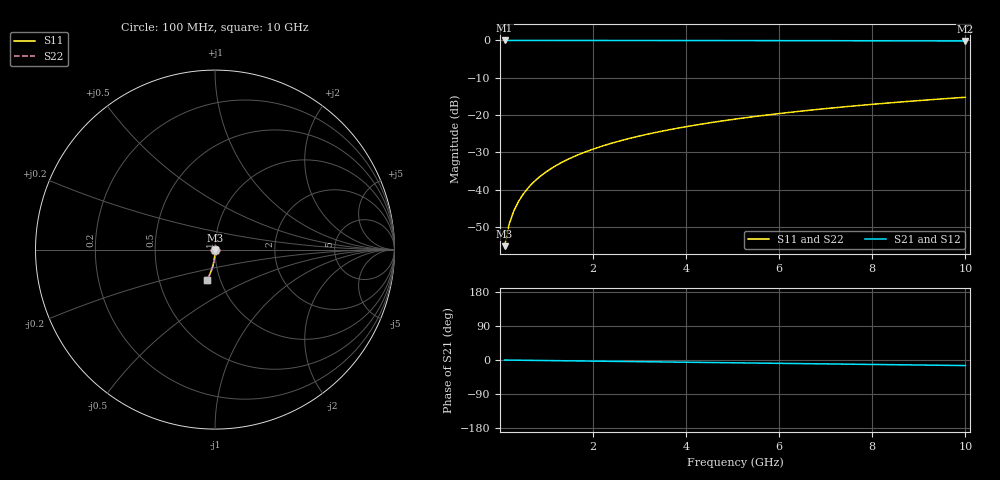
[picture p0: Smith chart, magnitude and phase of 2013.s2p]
# Hz S RI R 50.00
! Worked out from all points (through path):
!   100 points, 100 MHz to 10 GHz, reference 50 ohm
!   highest |S21| = 0.00 dB at 100 MHz (marker M1); lowest = -0.1 dB at 10 GHz (marker M2)
!   group delay of S21, straight-line fit = 4.08 ps
!   lowest |S11| = -55.1 dB at 100 MHz (marker M3), VSWR 1.00, Z = 50 - j0.175 ohm
!   |S11| at or under -10 dB: start of sweep to end of sweep
!   |S22| runs from -55.1 to -15.2 dB; largest |S21 - S12| = 0
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1e8  0.000148 -0.00175  0.9998 -0.00255  0.9998 -0.00255  0.000148 -0.00175
2e8  0.000134 -0.0035  0.9998 -0.00511  0.9998 -0.00511  0.000134 -0.0035
3e8  0.00011 -0.00525  0.9998 -0.00766  0.9998 -0.00766  0.00011 -0.00525
4e8  7.74e-05 -0.007  0.9998 -0.0102  0.9998 -0.0102  7.74e-05 -0.007
5e8  3.56e-05 -0.00874  0.9997 -0.0128  0.9997 -0.0128  3.56e-05 -0.00874
6e8  -1.51e-05 -0.0105  0.9997 -0.0153  0.9997 -0.0153  -1.51e-05 -0.0105
7e8  -7.48e-05 -0.0122  0.9996 -0.0179  0.9996 -0.0179  -7.48e-05 -0.0122
8e8  -0.000144 -0.014  0.9995 -0.0204  0.9995 -0.0204  -0.000144 -0.014
9e8  -0.000221 -0.0157  0.9994 -0.023  0.9994 -0.023  -0.000221 -0.0157
1.1e9  -0.000403 -0.0192  0.9992 -0.0281  0.9992 -0.0281  -0.000403 -0.0192
1.4e9  -0.000744 -0.0245  0.9989 -0.0357  0.9989 -0.0357  -0.000744 -0.0245
1.8e9  -0.00132 -0.0315  0.9982 -0.046  0.9982 -0.046  -0.00132 -0.0315
2.1e9  -0.00185 -0.0367  0.9977 -0.0536  0.9977 -0.0536  -0.00185 -0.0367
2.5e9  -0.00268 -0.0437  0.9968 -0.0638  0.9968 -0.0638  -0.00268 -0.0437
2.9e9  -0.00366 -0.0506  0.9957 -0.074  0.9957 -0.074  -0.00366 -0.0506
3.4e9  -0.00507 -0.0593  0.9942 -0.0867  0.9942 -0.0867  -0.00507 -0.0593
4.2e9  -0.0078 -0.0731  0.9913 -0.107  0.9913 -0.107  -0.0078 -0.0731
5.1e9  -0.0116 -0.0884  0.9873 -0.1297  0.9873 -0.1297  -0.0116 -0.0884
5.9e9  -0.0155 -0.102  0.983 -0.1497  0.983 -0.1497  -0.0155 -0.102
6.7e9  -0.0199 -0.1153  0.9782 -0.1696  0.9782 -0.1696  -0.0199 -0.1153
8.4e9  -0.0312 -0.1429  0.9661 -0.2111  0.9661 -0.2111  -0.0312 -0.1429
1e10  -0.0439 -0.1677  0.9524 -0.2492  0.9524 -0.2492  -0.0439 -0.1677
